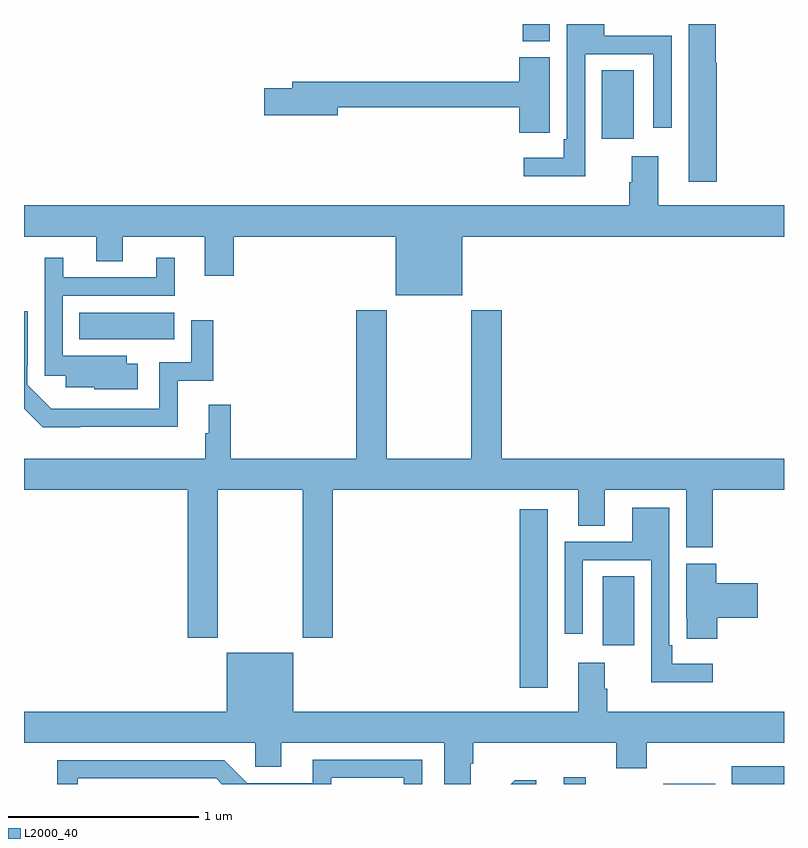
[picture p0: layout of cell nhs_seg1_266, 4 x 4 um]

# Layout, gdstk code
import gdstk
lib = gdstk.Library(unit=1e-6, precision=1e-09)
def R(c, l, rs):  # rectangles x0, y0, x1, y1
    for r in rs: c.add(gdstk.rectangle(r[:2], r[2:], *l))
def P(c, l, *ps):  # polygons
    for p in ps: c.add(gdstk.Polygon(p, *l))
L2000_40 = (2000, 40)

nhs_seg1_266 = lib.new_cell('nhs_seg1_266')
R(nhs_seg1_266, L2000_40, [(127.841,534.199,127.956,534.235), (128.365,534.199,128.637,534.2), (128.724,534.199,129,534.292), (127.61,534.705,127.756,535.645), (128.045,534.93,128.212,535.292), (125.29,536.54,125.791,536.68), (128.042,537.594,128.209,537.956), (127.625,538.108,127.768,538.199)])
P(nhs_seg1_266, L2000_40, [(128.645,537.996),(128.64,537.996),(128.64,538.199),(128.498,538.199),(128.498,537.369),(128.645,537.369)],
  [(127.953,538.041),(128.313,538.041),(128.313,537.654),(128.409,537.654),(128.409,538.137),(128.053,538.137),(128.053,538.199),(127.857,538.199),(127.857,537.592),(127.841,537.592),(127.841,537.496),(127.629,537.496),(127.629,537.398),(127.953,537.398)],
  [(127.767,537.739),(127.768,537.739),(127.768,538.023),(127.607,538.023),(127.607,537.896),(126.413,537.896),(126.413,537.86),(126.264,537.86),(126.264,537.718),(126.652,537.718),(126.652,537.76),(127.607,537.76),(127.607,537.627),(127.767,537.627)],
  [(127.306,537.08),(129,537.08),(129,537.244),(128.338,537.244),(128.338,537.502),(128.198,537.502),(128.198,537.365),(128.186,537.365),(128.186,537.244),(125,537.244),(125,537.08),(125.381,537.08),(125.381,536.95),(125.521,536.95),(125.521,537.08),(125.951,537.08),(125.951,536.874),(126.104,536.874),(126.104,537.08),(126.956,537.08),(126.956,536.771),(127.306,536.771)],
  [(125.599,536.41),(125.542,536.41),(125.542,536.452),(125.205,536.452),(125.205,536.769),(125.794,536.769),(125.794,536.968),(125.696,536.968),(125.696,536.865),(125.206,536.865),(125.206,536.968),(125.109,536.968),(125.109,536.349),(125.219,536.349),(125.219,536.288),(125.37,536.288),(125.37,536.276),(125.599,536.276)],
  [(126.021,535.748),(126.466,535.748),(126.466,534.969),(126.626,534.969),(126.626,535.748),(127.916,535.748),(127.916,535.558),(128.056,535.558),(128.056,535.748),(128.486,535.748),(128.486,535.444),(128.625,535.444),(128.625,535.748),(129,535.748),(129,535.912),(127.514,535.912),(127.514,536.692),(127.354,536.692),(127.354,535.912),(126.909,535.912),(126.909,536.692),(126.749,536.692),(126.749,535.912),(126.089,535.912),(126.089,536.194),(125.972,536.194),(125.972,536.045),(125.953,536.045),(125.953,535.912),(125,535.912),(125,535.748),(125.861,535.748),(125.861,534.969),(126.021,534.969)],
  [(125.297,536.078),(125.809,536.078),(125.809,536.322),(125.996,536.322),(125.996,536.641),(125.88,536.641),(125.88,536.418),(125.712,536.418),(125.712,536.175),(125.245,536.175),(125.245,536.173),(125.144,536.173),(125.016,536.301),(125.016,536.401),(125.019,536.401),(125.019,536.686),(125,536.686),(125,536.174),(125.098,536.076),(125.297,536.076)],
  [(128.626,534.832),(128.413,534.832),(128.413,534.928),(128.397,534.928),(128.397,535.654),(128.201,535.654),(128.201,535.473),(127.845,535.473),(127.845,534.99),(127.941,534.99),(127.941,535.377),(128.301,535.377),(128.301,534.734),(128.626,534.734)],
  [(128.648,535.073),(128.863,535.073),(128.863,535.256),(128.643,535.256),(128.643,535.359),(128.486,535.359),(128.486,535.075),(128.487,535.075),(128.487,534.963),(128.648,534.963)],
  [(126.068,534.889),(126.068,534.58),(125,534.58),(125,534.416),(126.216,534.416),(126.216,534.289),(126.355,534.289),(126.355,534.416),(127.211,534.416),(127.211,534.199),(127.351,534.199),(127.351,534.306),(127.364,534.306),(127.364,534.416),(128.117,534.416),(128.117,534.283),(128.277,534.283),(128.277,534.416),(129,534.416),(129,534.58),(128.069,534.58),(128.069,534.701),(128.056,534.701),(128.056,534.838),(127.916,534.838),(127.916,534.58),(126.418,534.58),(126.418,534.889)],
  [(125.283,534.228),(126.012,534.228),(126.041,534.199),(126.618,534.199),(126.618,534.231),(126.999,534.231),(126.999,534.199),(127.095,534.199),(127.095,534.327),(126.521,534.327),(126.521,534.204),(126.174,534.204),(126.054,534.324),(125.175,534.324),(125.175,534.199),(125.283,534.199)],
  [(127.696,534.22),(127.583,534.22),(127.562,534.199),(127.696,534.199)])

lib.write_gds('nhs_seg1_266.gds')
